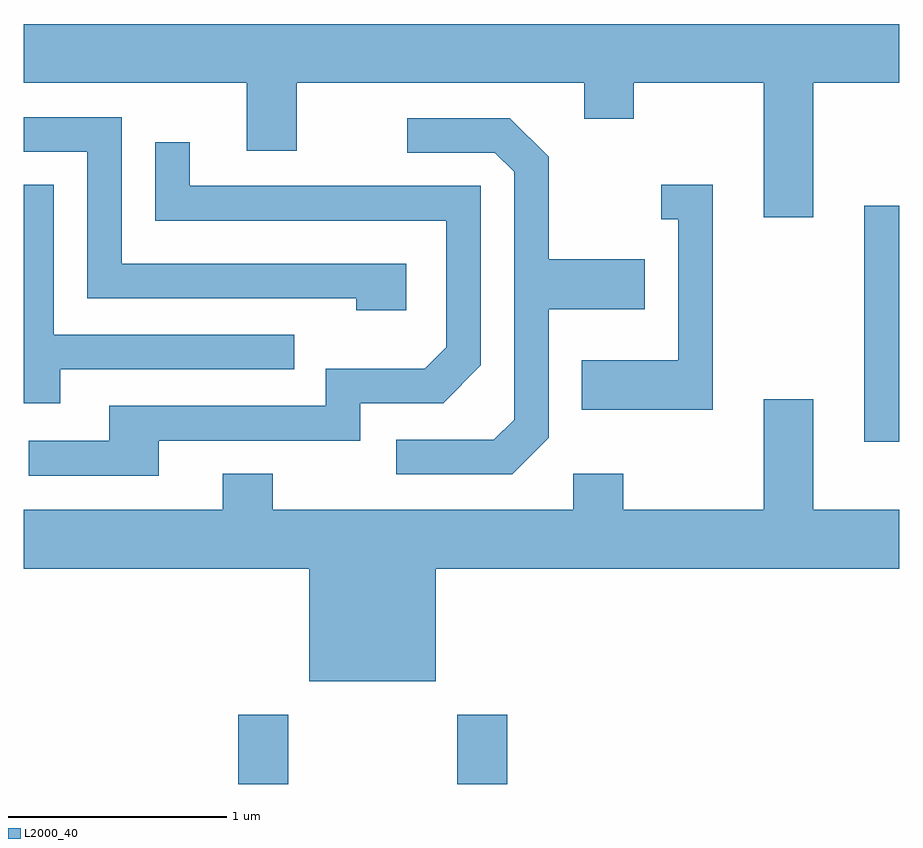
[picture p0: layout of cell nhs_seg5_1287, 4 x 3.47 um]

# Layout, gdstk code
import gdstk
lib = gdstk.Library(unit=1e-6, precision=1e-09)
def R(c, l, rs):  # rectangles x0, y0, x1, y1
    for r in rs: c.add(gdstk.rectangle(r[:2], r[2:], *l))
def P(c, l, *ps):  # polygons
    for p in ps: c.add(gdstk.Polygon(p, *l))
L2000_40 = (2000, 40)

nhs_seg5_1287 = lib.new_cell('nhs_seg5_1287')
R(nhs_seg5_1287, L2000_40, [(224.591,1418.072,224.819,1418.389), (225.591,1418.072,225.819,1418.389), (227.451,1419.636,227.611,1420.714)])
P(nhs_seg5_1287, L2000_40, [(227.219,1421.276),(227.611,1421.276),(227.611,1421.544),(223.611,1421.544),(223.611,1421.276),(224.631,1421.276),(224.631,1420.966),(224.859,1420.966),(224.859,1421.276),(226.171,1421.276),(226.171,1421.111),(226.399,1421.111),(226.399,1421.276),(226.991,1421.276),(226.991,1420.661),(227.219,1420.661)],
  [(225.359,1420.449),(224.059,1420.449),(224.059,1421.119),(223.611,1421.119),(223.611,1420.961),(223.901,1420.961),(223.901,1420.291),(225.131,1420.291),(225.131,1420.236),(225.359,1420.236)],
  [(226.009,1419.654),(226.009,1420.241),(226.449,1420.241),(226.449,1420.469),(226.009,1420.469),(226.009,1420.937),(225.832,1421.114),(225.363,1421.114),(225.363,1420.956),(225.764,1420.956),(225.851,1420.869),(225.851,1419.737),(225.759,1419.644),(225.313,1419.644),(225.313,1419.486),(225.842,1419.486)],
  [(224.229,1419.641),(225.149,1419.641),(225.149,1419.811),(225.527,1419.811),(225.699,1419.984),(225.699,1420.804),(224.369,1420.804),(224.369,1421.003),(224.211,1421.003),(224.211,1420.646),(225.541,1420.646),(225.541,1420.067),(225.444,1419.969),(224.991,1419.969),(224.991,1419.799),(224.001,1419.799),(224.001,1419.639),(223.633,1419.639),(223.633,1419.481),(224.229,1419.481)],
  [(223.779,1419.966),(224.848,1419.966),(224.848,1420.124),(223.749,1420.124),(223.749,1420.809),(223.611,1420.809),(223.611,1419.811),(223.779,1419.811)],
  [(226.759,1420.809),(226.523,1420.809),(226.523,1420.651),(226.601,1420.651),(226.601,1420.009),(226.161,1420.009),(226.161,1419.781),(226.759,1419.781)],
  [(225.494,1419.056),(227.611,1419.056),(227.611,1419.324),(227.219,1419.324),(227.219,1419.829),(226.991,1419.829),(226.991,1419.324),(226.349,1419.324),(226.349,1419.489),(226.121,1419.489),(226.121,1419.324),(224.749,1419.324),(224.749,1419.489),(224.521,1419.489),(224.521,1419.324),(223.611,1419.324),(223.611,1419.056),(224.916,1419.056),(224.916,1418.541),(225.494,1418.541)])

lib.write_gds('nhs_seg5_1287.gds')
